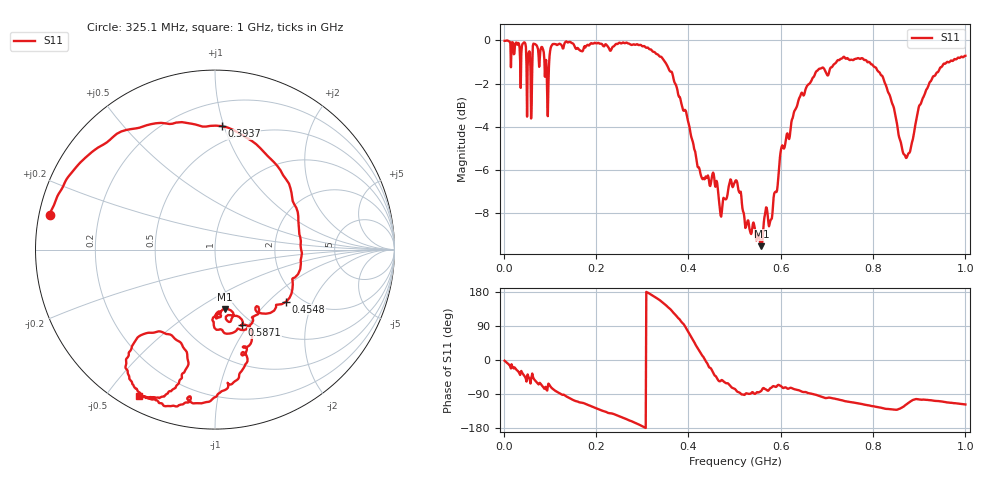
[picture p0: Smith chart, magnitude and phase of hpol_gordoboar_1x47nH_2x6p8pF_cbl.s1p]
!Agilent N9923A: A.07.32
!Date: Sunday, 08 November 2020 06:52:41
!Model: N9923A
!Serial: MY52412229
!GPS Latitude:
!GPS Longitude:
!GPS TimeStamp: 0001-01-01 00:00:00Z
!GPS Seconds Since Last Read: 0
!CHECKSUM:0123090430
!Correction: S11(ON U)
!S1P File: Measurement: S11:
# Hz S DB R 50
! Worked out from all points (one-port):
!   801 points, 2 MHz to 1 GHz, reference 50 ohm
!   lowest |S11| = -9.5 dB at 558.4 MHz (marker M1), VSWR 2.01, Z = 44.2 - j32.9 ohm
!   |S11| at or under -10 dB: nowhere
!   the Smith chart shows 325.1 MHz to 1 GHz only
!   S11 on the Smith chart (normalised r, x): 325.1 MHz: 0.03, +0.10; 393.7 MHz: 0.37, +0.98; 454.8 MHz: 1.70, -1.29; 587.1 MHz: 0.89, -0.93; 1 GHz: 0.06, -0.61
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2000000  -0.02 -2.0
4.4415e7  -0.09 -41.2
5.4395e7  -0.56 -46.5
6.687e7  -0.17 -52.4
9.05725e7  -1.11 -70.9
1.018e8  -0.35 -70.7
1.2675e8  -0.29 -91.7
2.003525e8  -0.14 -127.4
2.515e8  -0.11 -149.0
2.926675e8  -0.22 -170.1
3.251025e8  -0.54 168.3
3.48805e8  -0.98 147.1
3.7625e8  -2.30 113.0
3.93715e8  -3.24 87.0
4.199125e8  -5.84 32.0
4.548425e8  -6.17 -36.1
5.01e8  -6.53 -76.5
5.18465e8  -7.91 -91.0
5.58385e8  -9.51 -80.7
5.870775e8  -7.03 -70.3
6.2575e8  -3.60 -75.1
6.8064e8  -1.38 -93.8
7.505e8  -0.91 -111.2
8.2535e8  -1.96 -128.3
8.5529e8  -4.36 -129.6
8.7525e8  -5.28 -114.3
9.263975e8  -1.84 -106.5
1e9  -0.72 -117.3
